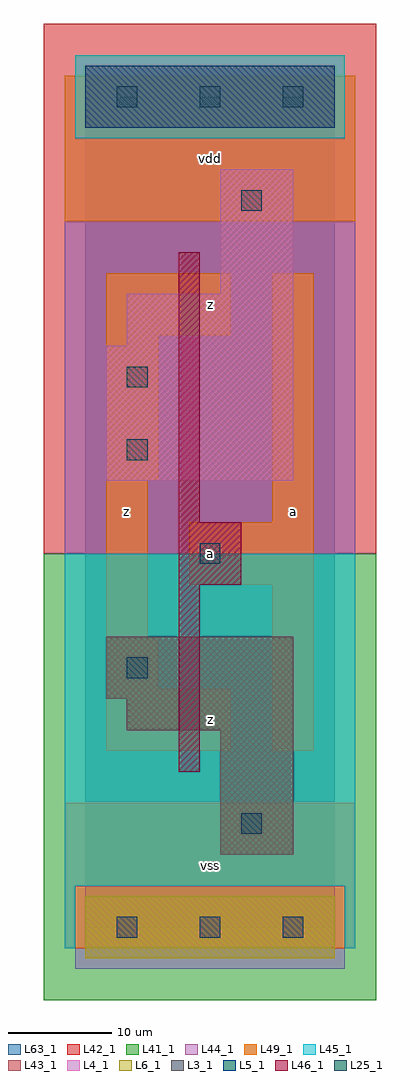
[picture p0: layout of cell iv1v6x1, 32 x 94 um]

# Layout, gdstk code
import gdstk
lib = gdstk.Library(unit=1e-6, precision=1e-09)
def R(c, l, rs):  # rectangles x0, y0, x1, y1
    for r in rs: c.add(gdstk.rectangle(r[:2], r[2:], *l))
def A(c, l, x, y, w, h, nx, ny, dx, dy):  # array of equal rectangles
    R(c, l, [(x+i*dx, y+j*dy, x+i*dx+w, y+j*dy+h) for i in range(nx) for j in range(ny)])
L3_1 = (3, 1)
L4_1 = (4, 1)
L5_1 = (5, 1)
L6_1 = (6, 1)
L25_1 = (25, 1)
L41_1 = (41, 1)
L42_1 = (42, 1)
L43_1 = (43, 1)
L44_1 = (44, 1)
L45_1 = (45, 1)
L46_1 = (46, 1)
L49_1 = (49, 1)
L63_1 = (63, 1)

iv1v6x1 = lib.new_cell('iv1v6x1')
R(iv1v6x1, L3_1, [(13,7,20,19), (4,19,20,22), (2,22,20,28)])
R(iv1v6x1, L4_1, [(2,43,20,56), (4,56,20,61), (13,61,20,73)])
R(iv1v6x1, L5_1, [(0,77,24,83)])
R(iv1v6x1, L6_1, [(0,-3,24,3), (0,-3,24,3)])
A(iv1v6x1, L25_1, 3, -1, 2, 2, 3, 2, 8, 80)
R(iv1v6x1, L25_1, [(15,9,17,11), (4,24,6,26), (11,35,13,37), (4,45,6,47), (4,52,6,54), (15,69,17,71)])
R(iv1v6x1, L41_1, [(-4,-7,28,36)])
R(iv1v6x1, L42_1, [(-4,36,28,87)])
R(iv1v6x1, L43_1, [(0,-3,24,3), (13,7,20,19), (4,19,20,22), (2,22,20,28), (2,43,20,56), (4,56,20,61), (13,61,20,73), (0,77,24,83)])
R(iv1v6x1, L44_1, [(-1,-4,25,4), (-2,36,26,76), (-2,76,-1,82), (25,76,26,82)])
R(iv1v6x1, L45_1, [(-2,-2,-1,4), (25,-2,26,4), (-2,4,26,36), (-1,76,25,84)])
R(iv1v6x1, L46_1, [(9,15,11,33), (9,33,15,39), (9,39,11,65)])
R(iv1v6x1, L49_1, [(-2,-2,26,12), (2,17,14,23), (18,17,22,33), (2,23,7,28), (2,28,6,43), (10,33,22,39), (18,39,22,63), (2,43,7,57), (2,57,14,63), (-2,68,26,82)])
R(iv1v6x1, L63_1, [(0,0,24,80)])
iv1v6x1.add(gdstk.Label('z', (4,40), layer=49, texttype=1))
iv1v6x1.add(gdstk.Label('vss', (12,6), layer=49, texttype=1))
iv1v6x1.add(gdstk.Label('z', (12,20), layer=49, texttype=1))
iv1v6x1.add(gdstk.Label('a', (12,36), layer=49, texttype=1))
iv1v6x1.add(gdstk.Label('z', (12,60), layer=49, texttype=1))
iv1v6x1.add(gdstk.Label('vdd', (12,74), layer=49, texttype=1))
iv1v6x1.add(gdstk.Label('a', (20,40), layer=49, texttype=1))

lib.write_gds('iv1v6x1.gds')
